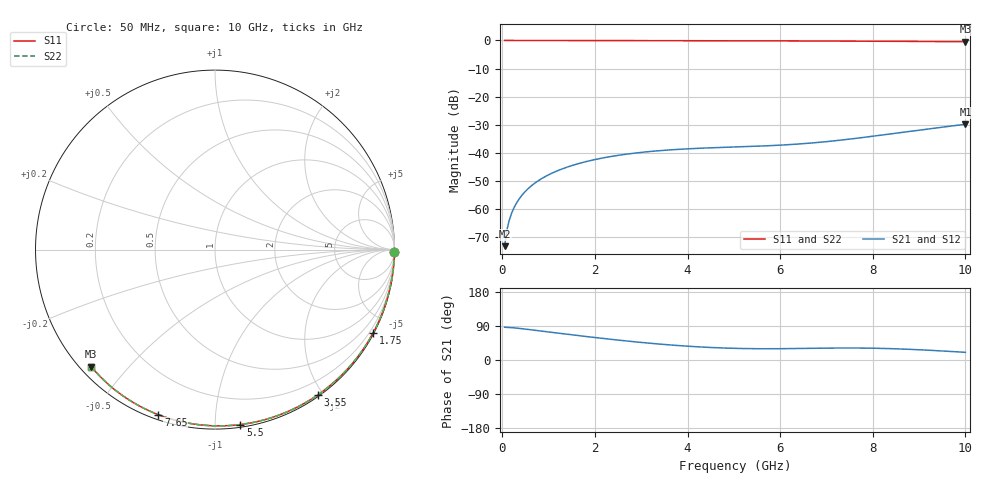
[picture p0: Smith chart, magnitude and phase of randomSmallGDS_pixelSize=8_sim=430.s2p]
! freq	dB(S11)	phase(S11)	dB(S12)	phase(S12)
!  dB(S21)	phase(S21)	dB(S22)	phase(S22)
!S-par simulation data
#  GHz  S  DB  R 50
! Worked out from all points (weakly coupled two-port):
!   200 points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, 50 MHz to 10 GHz, reference 50 ohm
!   highest |S21| = -29.80 dB at 10 GHz (marker M1); lowest = -73.1 dB at 50 MHz (marker M2)
!   lowest |S11| = -0.5 dB at 10 GHz (marker M3), VSWR 38.43, Z = 1.51 - j19.9 ohm
!   |S11| at or under -10 dB: nowhere
!   |S22| runs from -0.5 to 0.0 dB; largest |S21 - S12| = 0
!   S11 on the Smith chart (normalised r, x): 50 MHz: open; 1.75 GHz: 0.04, -4.06; 3.55 GHz: 0.02, -1.93; 5.5 GHz: 0.02, -1.15; 7.65 GHz: 0.02, -0.71; 10 GHz: 0.03, -0.40
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0.05  -0.00 -0.8  -73.14 86.5  -73.14 86.5  -0.00 -0.8
0.1  -0.00 -1.6  -67.38 86.1  -67.38 86.1  -0.00 -1.6
0.15  -0.00 -2.4  -63.95 85.9  -63.95 85.9  -0.00 -2.4
0.2  -0.00 -3.2  -61.49 85.4  -61.49 85.4  -0.00 -3.2
0.25  -0.00 -4.0  -59.58 84.9  -59.58 84.9  -0.00 -4.0
0.35  -0.00 -5.6  -56.68 83.6  -56.68 83.6  -0.00 -5.6
0.5  -0.01 -8.0  -53.62 81.5  -53.62 81.5  -0.01 -8.0
0.7  -0.01 -11.2  -50.75 78.5  -50.75 78.5  -0.01 -11.2
1  -0.02 -15.9  -47.76 74.0  -47.76 74.0  -0.02 -15.9
1.35  -0.03 -21.4  -45.32 68.7  -45.32 68.7  -0.03 -21.4
1.75  -0.04 -27.7  -43.32 62.8  -43.32 62.8  -0.04 -27.7
2.5  -0.05 -39.1  -40.85 52.5  -40.85 52.5  -0.05 -39.1
3.4  -0.07 -52.5  -39.18 42.0  -39.18 42.0  -0.07 -52.5
3.55  -0.07 -54.7  -38.99 40.5  -38.99 40.5  -0.07 -54.7
4.3  -0.09 -65.4  -38.30 34.3  -38.30 34.3  -0.09 -65.4
5.05  -0.12 -75.7  -37.85 30.6  -37.85 30.6  -0.12 -75.7
5.5  -0.13 -81.8  -37.59 29.8  -37.59 29.8  -0.13 -81.8
6.7  -0.19 -97.2  -36.43 30.9  -36.43 30.9  -0.19 -97.2
7.65  -0.24 -108.9  -34.78 31.6  -34.78 31.6  -0.24 -108.9
8.35  -0.29 -117.3  -33.30 30.1  -33.30 30.1  -0.29 -117.3
9.2  -0.37 -127.3  -31.46 25.9  -31.46 25.9  -0.37 -127.3
10  -0.45 -136.5  -29.80 20.2  -29.80 20.2  -0.45 -136.5
